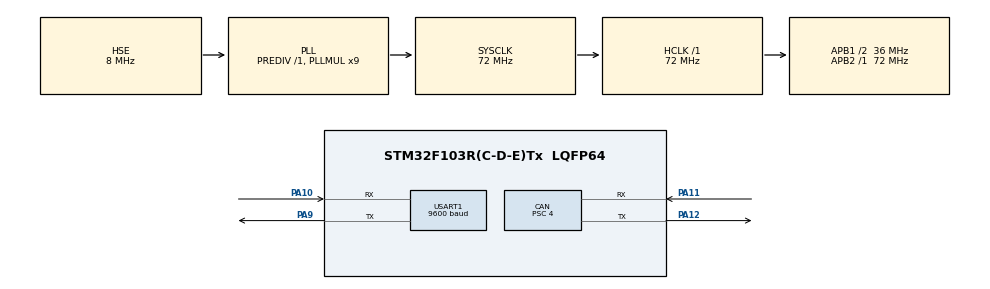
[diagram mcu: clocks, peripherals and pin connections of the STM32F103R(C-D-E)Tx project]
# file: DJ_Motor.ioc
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CAN.BS1=CAN_BS1_4TQ
CAN.BS2=CAN_BS2_4TQ
CAN.CalculateBaudRate=1000000
CAN.CalculateTimeBit=1000
CAN.CalculateTimeQuantum=111.11111111111111
CAN.Mode=CAN_MODE_NORMAL
CAN.Prescaler=4
CAN.SJW=CAN_SJW_1TQ
Mcu.Family=STM32F1
Mcu.Name=STM32F103R(C-D-E)Tx
Mcu.Package=LQFP64
NVIC.PriorityGroup=NVIC_PRIORITYGROUP_4
PA10.Mode=Asynchronous
PA10.Signal=USART1_RX
PA11.Mode=CAN_Activate
PA11.Signal=CAN_RX
PA12.Mode=CAN_Activate
PA12.Signal=CAN_TX
PA13.Mode=Serial_Wire
PA13.Signal=SYS_JTMS-SWDIO
PA14.Mode=Serial_Wire
PA14.Signal=SYS_JTCK-SWCLK
PA9.Mode=Asynchronous
PA9.Signal=USART1_TX
PD0-OSC_IN.Mode=HSE-External-Oscillator
PD0-OSC_IN.Signal=RCC_OSC_IN
PD1-OSC_OUT.Mode=HSE-External-Oscillator
PD1-OSC_OUT.Signal=RCC_OSC_OUT
ProjectManager.HeapSize=0x200
ProjectManager.StackSize=0x400
ProjectManager.TargetToolchain=MDK-ARM V5.32
RCC.AHBFreq_Value=72000000
RCC.APB1CLKDivider=RCC_HCLK_DIV2
RCC.APB1Freq_Value=36000000
RCC.APB1TimFreq_Value=72000000
RCC.APB2Freq_Value=72000000
RCC.APB2TimFreq_Value=72000000
RCC.HCLKFreq_Value=72000000
RCC.PLLMUL=RCC_PLL_MUL9
RCC.PLLSourceVirtual=RCC_PLLSOURCE_HSE
RCC.SYSCLKFreq_VALUE=72000000
RCC.SYSCLKSource=RCC_SYSCLKSOURCE_PLLCLK
RCC.USBFreq_Value=72000000
USART1.BaudRate=9600
USART1.VirtualMode=VM_ASYNC
board=custom

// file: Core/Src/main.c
/* USER CODE BEGIN Header */
/**
  ******************************************************************************
  * @file           : main.c
  * @brief          : Main program body
  ******************************************************************************
  * @attention
  *
  * Copyright (c) 2024 STMicroelectronics.
  * All rights reserved.
  *
  * This software is licensed under terms that can be found in the LICENSE file
  * in the root directory of this software component.
  * If no LICENSE file comes with this software, it is provided AS-IS.
  *
  ******************************************************************************
  */
/* USER CODE END Header */
#include "main.h"
#include "can.h"
#include "usart.h"
#include "gpio.h"

/* USER CODE BEGIN Includes */
#include <stdio.h>
#include "DJ_bsp.h"
#include "pid.h"

#define Angle ((int16_t)((DATA_R[0] << 8) + DATA_R[1]))*360/8192
#define Speed (int16_t)((DATA_R[2] << 8) + DATA_R[3])
#define TorqueCurrent (int16_t)((DATA_R[4] << 8) + DATA_R[5])

#ifdef __GNUC__
  #define PUTCHAR_PROTOTYPE int __io_putchar(int ch)
#else
 #define PUTCHAR_PROTOTYPE int fputc(int ch, FILE *f)
#endif

PUTCHAR_PROTOTYPE
{
 HAL_UART_Transmit(&huart1,(uint8_t *)&ch,1,0xFFFF);
  return ch;
}
/* USER CODE END Includes */

/* USER CODE BEGIN PV */
uint8_t DATA_R[8]={0};
/* USER CODE END PV */

void SystemClock_Config(void);

/* USER CODE BEGIN 0 */
void Configure_Filter(void)
{
	CAN_FilterTypeDef sFilterConfig;

	sFilterConfig.FilterIdHigh=0;
	sFilterConfig.FilterIdLow=0;
	sFilterConfig.FilterMaskIdHigh=0;
	sFilterConfig.FilterMaskIdLow=0;
	sFilterConfig.FilterFIFOAssignment=CAN_FILTER_FIFO0;
	sFilterConfig.FilterBank=1;
	sFilterConfig.FilterMode=CAN_FILTERMODE_IDMASK;
	sFilterConfig.FilterScale=CAN_FILTERSCALE_32BIT;
	sFilterConfig.FilterActivation=ENABLE;
	sFilterConfig.SlaveStartFilterBank=14;

	if(HAL_CAN_ConfigFilter(&hcan,&sFilterConfig)!=HAL_OK)
	{
		Error_Handler();
	}
}

/* USER CODE END 0 */

int main(void)
{
  /* USER CODE BEGIN 1 */
	float poeL = 0;
	float poeR = 0;
	uint8_t CMD = 0;
  /* USER CODE END 1 */

  /* MCU Configuration--------------------------------------------------------*/

  /* Reset of all peripherals, Initializes the Flash interface and the Systick. */
  HAL_Init();

  /* Configure the system clock */
  SystemClock_Config();

  /* Initialize all configured peripherals */
  MX_GPIO_Init();
  MX_CAN_Init();
  MX_USART1_UART_Init();
  /* USER CODE BEGIN 2 */
	Configure_Filter();
	HAL_CAN_Start(&hcan);
	HAL_CAN_ActivateNotification(&hcan,CAN_IT_RX_FIFO0_MSG_PENDING);
  /* USER CODE END 2 */

  /* Infinite loop */
  /* USER CODE BEGIN WHILE */
  while (1)
  {
		HAL_UART_Receive(&huart1, &CMD, 1, HAL_MAX_DELAY);
		switch(CMD)
		{
			case 1:poeL++;poeR--;break;
			case 2:poeL--;poeR++;break;
			case 3:poeR++;break;
			case 4:poeL--;break;
		}
		Motor_Send_CMD(1,0x0c,poeL);
		Motor_Send_CMD(2,0x0c,poeR);
		CMD = 0;
		HAL_Delay(100);
    /* USER CODE END WHILE */

  }
}

void SystemClock_Config(void)
{
  RCC_OscInitTypeDef RCC_OscInitStruct = {0};
  RCC_ClkInitTypeDef RCC_ClkInitStruct = {0};

  /** Initializes the RCC Oscillators according to the specified parameters
  * in the RCC_OscInitTypeDef structure.
  */
  RCC_OscInitStruct.OscillatorType = RCC_OSCILLATORTYPE_HSE;
  RCC_OscInitStruct.HSEState = RCC_HSE_ON;
  RCC_OscInitStruct.HSEPredivValue = RCC_HSE_PREDIV_DIV1;
  RCC_OscInitStruct.HSIState = RCC_HSI_ON;
  RCC_OscInitStruct.PLL.PLLState = RCC_PLL_ON;
  RCC_OscInitStruct.PLL.PLLSource = RCC_PLLSOURCE_HSE;
  RCC_OscInitStruct.PLL.PLLMUL = RCC_PLL_MUL9;
  if (HAL_RCC_OscConfig(&RCC_OscInitStruct) != HAL_OK)
  {
    Error_Handler();
  }

  /** Initializes the CPU, AHB and APB buses clocks
  */
  RCC_ClkInitStruct.ClockType = RCC_CLOCKTYPE_HCLK|RCC_CLOCKTYPE_SYSCLK
                              |RCC_CLOCKTYPE_PCLK1|RCC_CLOCKTYPE_PCLK2;
  RCC_ClkInitStruct.SYSCLKSource = RCC_SYSCLKSOURCE_PLLCLK;
  RCC_ClkInitStruct.AHBCLKDivider = RCC_SYSCLK_DIV1;
  RCC_ClkInitStruct.APB1CLKDivider = RCC_HCLK_DIV2;
  RCC_ClkInitStruct.APB2CLKDivider = RCC_HCLK_DIV1;

  if (HAL_RCC_ClockConfig(&RCC_ClkInitStruct, FLASH_LATENCY_2) != HAL_OK)
  {
    Error_Handler();
  }
}

void Error_Handler(void)
{
  __disable_irq();
  while (1)
  {
  }
}
